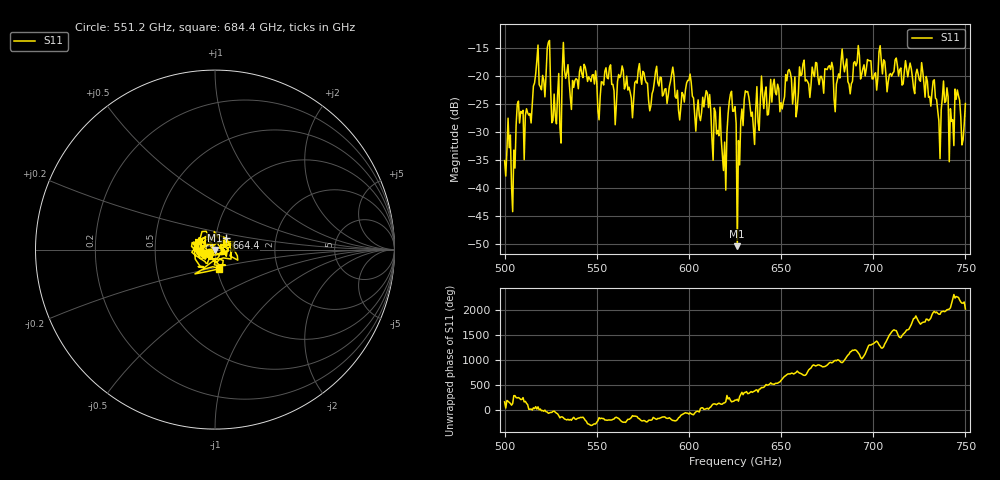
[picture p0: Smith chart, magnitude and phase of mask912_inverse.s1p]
!Created with skrf (http://scikit-rf.org).
# GHz S MA R 50.0
!freq magS11 angS11
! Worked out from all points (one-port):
!   401 points, 500 GHz to 750 GHz, reference 50 ohm
!   lowest |S11| = -50.3 dB at 626.2 GHz (marker M1), VSWR 1.01, Z = 49.8 - j0.179 ohm
!   |S11| at or under -10 dB: start of sweep to end of sweep
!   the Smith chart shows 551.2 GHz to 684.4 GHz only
!   S11 on the Smith chart (normalised r, x): 551.2 GHz: 0.93, -0.04; 664.4 GHz: 1.13, +0.14; 684.4 GHz: 1.02, -0.22
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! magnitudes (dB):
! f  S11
! 500 GHz  -35.0
! 505 GHz  -33.2
! 507.5 GHz  -24.4
! 511.9 GHz  -25.8
! 516.9 GHz  -19.5
! 523.8 GHz  -13.9
! 526.9 GHz  -23.2
! 531.2 GHz  -19.3
! 551.2 GHz  -27.8
! 562.5 GHz  -20.2
! 593.8 GHz  -22.5
! 610 GHz  -23.0
! 618.8 GHz  -36.8
! 623.1 GHz  -22.7
! 625 GHz  -25.4
! 626.2 GHz  -50.3
! 631.2 GHz  -22.8
! 635 GHz  -29.3
! 656.2 GHz  -24.9
! 664.4 GHz  -20.9
! 684.4 GHz  -19.2
! 687.5 GHz  -23.1
! 718.8 GHz  -20.1
! 735.6 GHz  -28.0
! 739.4 GHz  -24.4
! 742.5 GHz  -28.1
! 745.6 GHz  -22.4
! 750 GHz  -24.9
